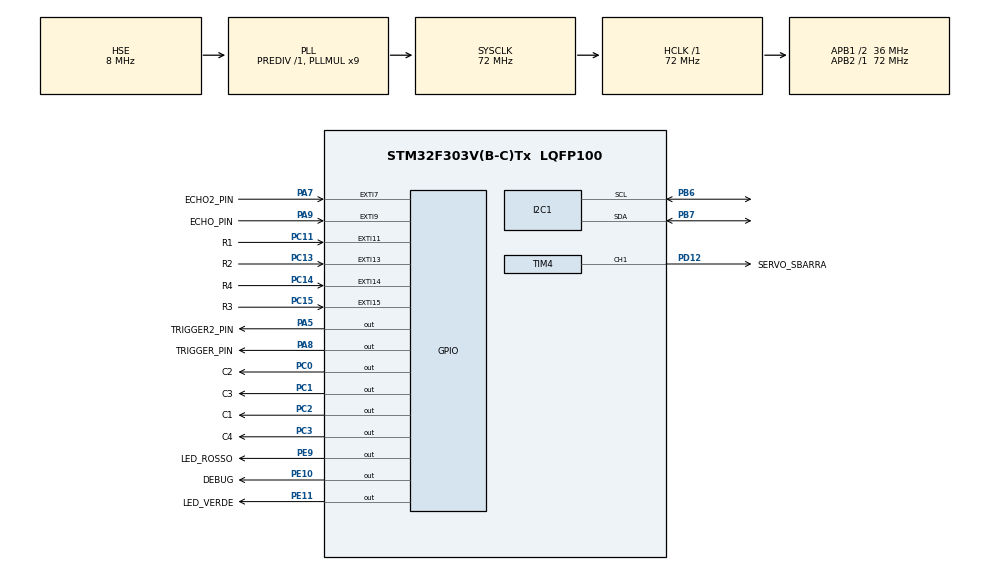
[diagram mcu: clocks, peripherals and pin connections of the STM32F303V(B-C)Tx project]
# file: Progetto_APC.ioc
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I2C1.Timing=0x00201D2B
Mcu.Family=STM32F3
Mcu.Name=STM32F303V(B-C)Tx
Mcu.Package=LQFP100
NVIC.EXTI15_10_IRQn=true\:0\:0\:false\:false\:true\:true\:true\:true
NVIC.EXTI9_5_IRQn=true\:0\:0\:false\:false\:true\:true\:true\:true
NVIC.PVD_IRQn=true\:0\:0\:false\:false\:true\:true\:true\:true
NVIC.PriorityGroup=NVIC_PRIORITYGROUP_4
NVIC.TIM2_IRQn=true\:0\:0\:false\:false\:true\:true\:true\:true
NVIC.TIM3_IRQn=true\:0\:0\:false\:false\:true\:true\:true\:true
PA5.GPIO_Label=TRIGGER2_PIN
PA5.Signal=GPIO_Output
PA7.GPIO_Label=ECHO2_PIN
PA7.GPIO_ModeDefaultEXTI=GPIO_MODE_IT_RISING_FALLING
PA7.Signal=GPXTI7
PA8.GPIO_Label=TRIGGER_PIN
PA8.Signal=GPIO_Output
PA9.GPIO_Label=ECHO_PIN
PA9.GPIO_ModeDefaultEXTI=GPIO_MODE_IT_RISING_FALLING
PA9.Signal=GPXTI9
PB6.Mode=I2C
PB6.Signal=I2C1_SCL
PB7.Mode=I2C
PB7.Signal=I2C1_SDA
PC0.GPIO_Label=C2
PC0.GPIO_ModeDefaultOutputPP=GPIO_MODE_OUTPUT_PP
PC0.PinState=GPIO_PIN_SET
PC0.Signal=GPIO_Output
PC1.GPIO_Label=C3
PC1.GPIO_ModeDefaultOutputPP=GPIO_MODE_OUTPUT_PP
PC1.PinState=GPIO_PIN_SET
PC1.Signal=GPIO_Output
PC11.GPIO_Label=R1
PC11.Signal=GPXTI11
PC13.GPIO_Label=R2
PC13.Signal=GPXTI13
PC14-OSC32_IN.GPIO_Label=R4
PC14-OSC32_IN.Signal=GPXTI14
PC15-OSC32_OUT.GPIO_Label=R3
PC15-OSC32_OUT.Signal=GPXTI15
PC2.GPIO_Label=C1
PC2.GPIO_ModeDefaultOutputPP=GPIO_MODE_OUTPUT_PP
PC2.PinState=GPIO_PIN_SET
PC2.Signal=GPIO_Output
PC3.GPIO_Label=C4
PC3.GPIO_ModeDefaultOutputPP=GPIO_MODE_OUTPUT_PP
PC3.PinState=GPIO_PIN_SET
PC3.Signal=GPIO_Output
PD12.GPIO_Label=SERVO_SBARRA
PD12.Signal=S_TIM4_CH1
PE10.GPIO_Label=DEBUG
PE10.Signal=GPIO_Output
PE11.GPIO_Label=LED_VERDE
PE11.Signal=GPIO_Output
PE9.GPIO_Label=LED_ROSSO
PE9.Signal=GPIO_Output
PF0-OSC_IN.Mode=HSE-External-Clock-Source
PF0-OSC_IN.Signal=RCC_OSC_IN
ProjectManager.HeapSize=0x200
ProjectManager.StackSize=0x400
ProjectManager.TargetToolchain=STM32CubeIDE
RCC.AHBFreq_Value=72000000
RCC.APB1CLKDivider=RCC_HCLK_DIV2
RCC.APB1Freq_Value=36000000
RCC.APB1TimFreq_Value=72000000
RCC.APB2Freq_Value=72000000
RCC.APB2TimFreq_Value=72000000
RCC.CortexFreq_Value=72000000
RCC.HCLKFreq_Value=72000000
RCC.HSE_VALUE=8000000
RCC.HSI_VALUE=8000000
RCC.LSE_VALUE=32768
RCC.PLLMUL=RCC_PLL_MUL9
RCC.PLLSourceVirtual=RCC_PLLSOURCE_HSE
RCC.SYSCLKFreq_VALUE=72000000
RCC.SYSCLKSourceVirtual=RCC_SYSCLKSOURCE_PLLCLK
RCC.USBFreq_Value=72000000
SH.S_TIM4_CH1.0=TIM4_CH1,PWM Generation1 CH1
TIM2.Period=9999
TIM2.Prescaler=71
TIM3.Period=10000-1
TIM3.Prescaler=7200-1
TIM4.Channel-PWM\ Generation1\ CH1=TIM_CHANNEL_1
TIM4.Period=19999
TIM4.Prescaler=71
VP_TIM2_VS_ClockSourceINT.Mode=Internal
VP_TIM3_VS_ClockSourceINT.Mode=Internal
VP_TIM4_VS_ClockSourceINT.Mode=Internal
board=custom

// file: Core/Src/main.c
/* USER CODE BEGIN Header */
/**
  ******************************************************************************
  * @file           : main.c
  * @brief          : Main program body
  ******************************************************************************
  * @attention
  *
  * Copyright (c) 2025 STMicroelectronics.
  * All rights reserved.
  *
  * This software is licensed under terms that can be found in the LICENSE file
  * in the root directory of this software component.
  * If no LICENSE file comes with this software, it is provided AS-IS.
  *
  ******************************************************************************
  */
/* USER CODE END Header */
#include "main.h"

/* USER CODE BEGIN Includes */
#include "ssd1306.h"
#include "ssd1306_fonts.h"
#include "number_display.h"
#include <stdio.h>
#include "qrcodegen.h"
#include <stdlib.h>
#include <string.h>

/* USER CODE END Includes */

/* USER CODE BEGIN PD */
#define TRIG_PORT GPIOA
#define ECHO_PORT GPIOA
#define ENTRANCE_TIME 10
#define SCALE 3

/* USER CODE END PD */

I2C_HandleTypeDef hi2c1;

TIM_HandleTypeDef htim2;
TIM_HandleTypeDef htim3;
TIM_HandleTypeDef htim4;

/* USER CODE BEGIN PV */
GPIO_InitTypeDef GPIO_InitStructPrivate = {0};
uint32_t previousMillis = 0;
uint32_t currentMillis = 0;
char keyPressed = ' '; //input del tastierino

//variabili del sensore di parcheggio
uint32_t echo_start_time =0;
uint32_t echo_stop_time= 0;
uint32_t distance = 0;
uint32_t distanzaVicinoCounter = 0; // conteggio in decimi di secondo
uint32_t away_counter = 0;

uint8_t qrcode[qrcodegen_BUFFER_LEN_MAX];
uint8_t tempBuffer[qrcodegen_BUFFER_LEN_MAX];
char qr_string[6]; // 5 cifre + terminatore '\0'
uint8_t up_flag = 1; //questo flag simula un finecorsa, indica che la sbarra è alta
uint8_t down_flag = 0; // questo invece indica quando la sbarre è abbassata = 1
uint8_t atEntrance = 0; //flag che indica se c'è qualcuno alla sbarra
char buffer[6];
int curr = 0;
GPIO_TypeDef* col_ports[4] = {C1_GPIO_Port, C2_GPIO_Port, C3_GPIO_Port, C4_GPIO_Port};
uint16_t col_pins[4] = {C1_Pin, C2_Pin, C3_Pin, C4_Pin};
char keypad[4][4] = {{'1','2','3','A'},{'4','5','6','B'},{'7','8','9','C'},{'*','0','#','D'}};
uint16_t seconds_elapsed = 0; //conta i secondi in cui sei all'ingresso
uint16_t elapsed_secs = 0;	//conta i secondi in cui sei nel parcheggio
uint16_t overflow = 0;
typedef struct {
	uint32_t timestamp;
	char ID[6];
}veicolo;
veicolo v;
bool pay = 0; //indica se bisogna pagare

//variabili del sensore di ingresso
uint32_t start_time_2 = 0;
uint32_t stop_time_2 = 0;
uint16_t distance2 = 0;

bool welcome = 1;
bool warningAtEnter = 0;
bool parkingChk = 0;
bool seatChk = 0;
bool lock = 0;
bool paid = 0;

/* USER CODE END PV */

void SystemClock_Config(void);
static void MX_GPIO_Init(void);
static void MX_I2C1_Init(void);
static void MX_TIM4_Init(void);
static void MX_TIM2_Init(void);
static void MX_TIM3_Init(void);
/* USER CODE BEGIN PFP */
void ultrasound_trigger_func(const int sensor);
void init_posto();
void sbarra_up();
void sbarra_down();
void draw_qr_on_display2(const char *text);
void TurnOnLed(GPIO_TypeDef* GPIOx, uint16_t GPIO_Pin);
void TurnOffLed(GPIO_TypeDef* GPIOx, uint16_t GPIO_Pin);
void SetServoAngle(uint8_t anglle);
void generate_random_string(void);
void scan_colonne();
/* USER CODE END PFP */

/* USER CODE BEGIN 0 */
//funzione per regolare l'angolo del servo

void SetServoAngle(uint8_t angle){
	uint16_t pulse = 900+(angle*2200)/180;
	__HAL_TIM_SET_COMPARE(&htim4,TIM_CHANNEL_1,pulse);
}

void sbarra_up(){
		SetServoAngle(90);
		down_flag = 0;
		up_flag = 1;
}

void sbarra_down(){
		SetServoAngle(0);
		up_flag = 0;
		down_flag = 1;
}

void init_posto(){
	TurnOnLed(GPIOE,GPIO_PIN_11);
	TurnOffLed(GPIOE,GPIO_PIN_9);
	sbarra_down();
}
void ultrasound_trigger_func(const int sensor){
	//Questa funzione invia l'impulso iniziale di 10us
	if(sensor == 1) HAL_GPIO_WritePin(GPIOA,TRIGGER2_PIN_Pin,GPIO_PIN_SET); 			//Alza trigger del sensore di ingresso
	else if (sensor == 2) HAL_GPIO_WritePin(TRIG_PORT, TRIGGER_PIN_Pin, GPIO_PIN_SET);  //Alza trigger del sensore di parcheggio
}

//ISR chiamata quando si verifica un qualsiasi evento sull'interfaccia GPIO

void HAL_GPIO_EXTI_Callback(uint16_t GPIO_Pin) {
	if (GPIO_Pin == ECHO_PIN_Pin) {
		if (HAL_GPIO_ReadPin(ECHO_PORT, ECHO_PIN_Pin) == GPIO_PIN_SET) {
			//Se ECHO è alto allora basta inziare a contare (o salvare il conteggio iniziale)
			echo_start_time = __HAL_TIM_GET_COUNTER (&htim2);
		} else { //Quando ECHO si abbassa si smette di contare, si calcola la distanza e la si invia
			echo_stop_time = __HAL_TIM_GET_COUNTER (&htim2);
			distance = (echo_stop_time-echo_start_time)* 0.034/2;//Formula data
			if (distance >= 45) distance = 40; //questo serve per correggere l'overflow
		}
		if (distance < 7) {						//sono parcheggiato
			      distanzaVicinoCounter++;			//conta un tic
			      if (distanzaVicinoCounter >= 30) { // con un impulso ogni 500 ms, 10 x 0.5s = 5s di periodo
			    	  away_counter = 0;
			    	  TurnOnLed(GPIOE, GPIO_PIN_9);   // LED rosso
			          TurnOffLed(GPIOE, GPIO_PIN_11);  // LED verde
			          seatChk = 1;					//flag del posto
			      }

		 } else {
			 	  away_counter++;
			 	  distanzaVicinoCounter = 0; // reset del timer
			 	  if(away_counter >=30){
			 		  TurnOnLed(GPIOE, GPIO_PIN_11);   // LED verde
			 		  TurnOffLed(GPIOE, GPIO_PIN_9);   // LED rosso
			 		  seatChk = 0;
			 	  }

			  }
		 }

	currentMillis = HAL_GetTick();
	if (currentMillis - previousMillis > 30) {
	    /*Configure GPIO pins : PB6 PB7 PB8 PB9 to GPIO_INPUT*/
	    GPIO_InitStructPrivate.Pin = R1_Pin|R2_Pin|R3_Pin|R4_Pin;
	    GPIO_InitStructPrivate.Mode = GPIO_MODE_INPUT;
	    GPIO_InitStructPrivate.Pull = GPIO_NOPULL;
	    GPIO_InitStructPrivate.Speed = GPIO_SPEED_FREQ_LOW;
	    HAL_GPIO_Init(GPIOC, &GPIO_InitStructPrivate);
	    for(int i=0;i<4;i++) {
				for(int j=0;j<4;j++) HAL_GPIO_WritePin(col_ports[j], col_pins[j],0);
				HAL_GPIO_WritePin(col_ports[i], col_pins[i],1);
				if(GPIO_Pin == R1_Pin && HAL_GPIO_ReadPin(R1_GPIO_Port, R1_Pin) && lock == 0)
						{
						  keyPressed = keypad[0][i];
						  lock = 1;
						}
						else if(GPIO_Pin == R2_Pin && HAL_GPIO_ReadPin(R2_GPIO_Port, R2_Pin) && lock == 0)
						{
						  keyPressed = keypad[1][i];
						  lock = 1;

						}
						else if(GPIO_Pin == R3_Pin && HAL_GPIO_ReadPin(R3_GPIO_Port, R3_Pin) && lock == 0)
						{
						  keyPressed = keypad[2][i];
						  lock = 1;

						}
						else if(GPIO_Pin == R4_Pin && HAL_GPIO_ReadPin(R4_GPIO_Port, R4_Pin) && lock == 0)
						{
						  keyPressed = keypad[3][i];
						  lock = 1;
						}
	    	}
	    	if (keyPressed == '#' && parkingChk == 1) {
				keyPressed = ' ';
				pay = 1;
				lock = 0;
			}
			else if (keyPressed == '*' && parkingChk == 1) {
				keyPressed = ' ';
				pay = 0;
				lock = 0;
			}

	    HAL_GPIO_WritePin(C1_GPIO_Port, C1_Pin, 1);
	    HAL_GPIO_WritePin(C2_GPIO_Port, C2_Pin, 1);
	    HAL_GPIO_WritePin(C3_GPIO_Port, C3_Pin, 1);
	    HAL_GPIO_WritePin(C4_GPIO_Port, C4_Pin, 1);
	    /*Configure GPIO pins : PB6 PB7 PB8 PB9 back to EXTI*/
	    GPIO_InitStructPrivate.Mode = GPIO_MODE_IT_RISING;
	    GPIO_InitStructPrivate.Pull = GPIO_PULLDOWN;
	    HAL_GPIO_Init(GPIOC, &GPIO_InitStructPrivate);
	    previousMillis = currentMillis;
	  }
//============= ISR SECONDO SENSORE ===================

	  if(GPIO_Pin == ECHO2_PIN_Pin){
		  if(HAL_GPIO_ReadPin(GPIOA,ECHO2_PIN_Pin)==GPIO_PIN_SET){
			start_time_2 = __HAL_TIM_GET_COUNTER (&htim2);
		  }else { //Quando ECHO si abbassa si smette di contare, si calcola la distanza e la si invia
			stop_time_2 = __HAL_TIM_GET_COUNTER (&htim2);
			distance2= (stop_time_2-start_time_2)* 0.034/2;//Formula data
			if (distance2 >= 45) distance2 = 40;
		  }
		  if(distance2<7){
			  atEntrance = 1;		//c'è una macchina all'ingresso
		  }else{
			  atEntrance = 0;		//non ci sono macchine all'ingresso
			  warningAtEnter = 0;	//non bisogna avvisare del warning
			}
	  }
	}

void HAL_TIM_PeriodElapsedCallback(TIM_HandleTypeDef *htim) {
        if (htim->Instance == TIM3) {
        	seconds_elapsed++;
        	if ((seconds_elapsed % ENTRANCE_TIME == 0)) {
        		// 10 secondi trascorsi!
				// Esegui azione
				HAL_TIM_Base_Stop_IT(&htim3);
				warningAtEnter = 1;
				atEntrance = 0;

          	    //ssd1306_DisplayString(" ",Font_11x18);
        	}
        }
        if(htim->Instance == TIM2){
        	overflow ++;
        	HAL_GPIO_WritePin(TRIG_PORT, TRIGGER_PIN_Pin, GPIO_PIN_RESET); //Abbassa trigger
            HAL_GPIO_WritePin(GPIOA,TRIGGER2_PIN_Pin,GPIO_PIN_RESET);
        	if(overflow >= 100){
        		elapsed_secs ++;
        		overflow = 0;
        	}
        }

}

// Funzione per accendere un LED specifico
void TurnOnLed(GPIO_TypeDef* GPIOx, uint16_t GPIO_Pin) {
    HAL_GPIO_WritePin(GPIOx, GPIO_Pin, GPIO_PIN_SET);
}

// Funzione per spegnere un LED specifico
void TurnOffLed(GPIO_TypeDef* GPIOx, uint16_t GPIO_Pin) {
    HAL_GPIO_WritePin(GPIOx, GPIO_Pin, GPIO_PIN_RESET);
}

//generazione codice univoco e conversione qrcode
void generate_random_string(void) {
    for (int i = 0; i < 5; i++) {
        qr_string[i] = '0' + (rand() % 10); // cifra casuale da '0' a '9'
    }
    qr_string[5] = '\0'; // terminatore stringa
}

void draw_qr_on_display2(const char *text) {

    bool ok = qrcodegen_encodeText(text, tempBuffer, qrcode, qrcodegen_Ecc_LOW,
                                       qrcodegen_VERSION_MIN, qrcodegen_VERSION_MAX,
                                       qrcodegen_Mask_AUTO, true);
        if (ok) {
            int qrsize = qrcodegen_getSize(qrcode);
            int offsetX = (128 - qrsize * SCALE) / 2;
            int offsetY = (64 - qrsize * SCALE) / 2;

            ssd1306_Fill(Black); // Pulisce lo schermo

            for (int y = 0; y < qrsize; y++) {
                for (int x = 0; x < qrsize; x++) {
                    bool pixel = qrcodegen_getModule(qrcode, x, y);
                    for (int dy = 0; dy < SCALE; dy++) {
                        for (int dx = 0; dx < SCALE; dx++) {
                            int drawX = x * SCALE + dx + offsetX;
                            int drawY = y * SCALE + dy + offsetY;

                            if (pixel)
                                ssd1306_DrawPixel(drawX, drawY, White);
                            else
                                ssd1306_DrawPixel(drawX, drawY, Black);
                        }
                    }
                }
            }

            ssd1306_UpdateScreen();  // Aggiorna il display
        }
    }

/* USER CODE END 0 */

int main(void)
{

  /* MCU Configuration--------------------------------------------------------*/

  /* Reset of all peripherals, Initializes the Flash interface and the Systick. */
  HAL_Init();

  /* Configure the system clock */
  SystemClock_Config();

  /* Initialize all configured peripherals */
  MX_GPIO_Init();
  MX_I2C1_Init();
  MX_TIM4_Init();
  MX_TIM2_Init();
  MX_TIM3_Init();
  /* USER CODE BEGIN 2 */
  __HAL_TIM_SET_COUNTER(&htim2, 0);
  //HAL_TIM_Base_Start(&htim2);
  HAL_TIM_Base_Start_IT(&htim2); // Avvia il timer
  HAL_GPIO_WritePin(TRIG_PORT, TRIGGER_PIN_Pin, GPIO_PIN_RESET);
  HAL_TIM_PWM_Start(&htim4,TIM_CHANNEL_1);
   // Genera stringa casuale
  init_posto();
  ssd1306_Init();
  //questa va spostata in un altra logica
  int elapsed = 0;
  /* USER CODE END 2 */

  /* Infinite loop */
  while (1)
  {

    /* USER CODE BEGIN 3 */
	//ssd1306_WriteString(buffer, Font_16x26, White);
	  if(welcome){
		  ssd1306_DisplayString("Benvenuto:)", Font_11x18);
		  ultrasound_trigger_func(1);
		  HAL_Delay(500);
	  }
	  /*
	  if(GPIO_PIN_SET == HAL_GPIO_ReadPin(GPIOA,GPIO_PIN_0)){
	  		  sbarra_up();
	  		  showQrCode = 1;
	  		   // genera la stringa random
	  			  //seconds_elapsed = 0;
	  		  if(atEntrance == 1){
	  			__HAL_TIM_SET_COUNTER(&htim3, 0);
	  		    HAL_TIM_Base_Start_IT(&htim3); // Avvia il timer
	  			gen = 0;
	  		  }
	  	  }*/
	  if(atEntrance == 1){	//C'è qualcuno all'ingresso
		  welcome = 0;
		  sbarra_up();
		  generate_random_string();
		  // genera la stringa random
		  seconds_elapsed = 0;
		  __HAL_TIM_SET_COUNTER(&htim3, 0);
		  HAL_TIM_Base_Start_IT(&htim3); // Avvia il timer
		  while(atEntrance == 1){
			  char EnterString[50];
			  sprintf(EnterString, "Hai %hu secondi per entrare!", ENTRANCE_TIME-seconds_elapsed);
			  ssd1306_DisplayString(EnterString, Font_6x8);
			  ultrasound_trigger_func(1);
			  HAL_Delay(500);
		  }
		  sbarra_down();
		  if(warningAtEnter == 0) {
			  parkingChk = 1;
			  generate_random_string();
			  v.timestamp = elapsed_secs; //associa il timestamp al veicolo
			  strcpy(v.ID,qr_string); //associa la stringa al veicolo
		  }
		  else {
			  while(warningAtEnter == 1) {
				  ssd1306_DisplayString("Vattene!", Font_11x18);
				  ultrasound_trigger_func(1);
				  HAL_Delay(500);
			  }
			  welcome = 1;
		  }
	  }

	  if(parkingChk == 1) {
		  lock = 0;
		  paid = 0;
		  ultrasound_trigger_func(2);
		  HAL_Delay(500);
		  if(seatChk == 1) {
			  ssd1306_DisplayString("Occupato :(", Font_11x18);
			  while (seatChk == 1) {
				  ultrasound_trigger_func(2);
				  HAL_Delay(500);
			  }
			  pay = 0;
		  }
		  else draw_qr_on_display2(qr_string);
		  if(pay == 1) {
			  elapsed = elapsed_secs- v.timestamp;
			  char PaymentString[30];
			  snprintf(PaymentString, sizeof(PaymentString), "Durata sosta: %d", elapsed);
			  ssd1306_DisplayString(PaymentString, Font_6x8);
			  HAL_Delay(3000);
			  strcpy(buffer, "     ");
			  while (pay == 1) {
				  char DisplayPIN[50];
				  sprintf(DisplayPIN,"Codice: %s", buffer);
				  ssd1306_DisplayString(DisplayPIN,Font_6x8);
				  if (keyPressed !=' ') {
				  				buffer[curr] = keyPressed;
				  				curr++;
				  				lock = 0;
				  				keyPressed = ' ';
				  				if(curr>=5) {
								  if (!strcmp(v.ID,buffer)){
									  paid = 1;
									  pay = 0;
									  curr = 0;
									  strcpy(buffer,"     ");
								  }else{
									  curr = 0;
									  strcpy(buffer,"     ");
								  }
								}
				  			}
			  }
			  if(paid == 1) {
				  ssd1306_DisplayString("Arrivederci UwU",Font_6x8);
				  sbarra_up();
				  HAL_Delay(5000);
				  sbarra_down();
				  parkingChk = 0;
				  welcome = 1;
			  }
		  }
	  }
/*

	  if (show_occupato){
    	  ssd1306_DisplayString("Occupato",Font_11x18);
	  }

	  if (atEntrance == 1 && showQrCode == 1){
			  v.timestamp = elapsed_secs; //associa il timestamp al veicolo
			  strcpy(v.ID,qr_string); //associa la stringa al veicolo
			  draw_qr_on_display2(qr_string); //mostra il qr
	  }

	  if(keyPressed == '#' && atEntrance == 0) {
		  if (automobile){
			  keyPressed = ' ';
			  strcpy(buffer,"     ");
			  pay = 1;
			  curr = 0;
			  elapsed = elapsed_secs- v.timestamp;
			  char str[30];
			  snprintf(str, sizeof(str), "Durata sosta: %d", elapsed);
			  ssd1306_DisplayString(str,Font_6x8);
		  }else{
			  ssd1306_DisplayString("non ci sono auto",Font_6x8);
	      }
	   }
	   if(pay){
		    	if (keyPressed != ' ') {
		    		next_char = 1;
		    		buffer[curr]=keyPressed;
		    		curr++;
		    		next_char = 1;
		    		keyPressed = ' ';
		    	}
		    			  ssd1306_DisplayString(buffer,Font_6x8);
		    			  if(curr>=5) {
		    				  if (!strcmp("11111",buffer)){
		    					  ssd1306_DisplayString("Arrivederci UwU",Font_6x8);
		    					  pay = 0;
		    					  curr = 0;
		    					  strcpy(buffer,"     ");
		    					  automobile = 0;
		    					  gen = 1;
		    					  show_occupato = 0;
		    					  //sbarra = 0;
		    					  //HAL_Delay(100);
		    				  }else{
		    					  ssd1306_DisplayString("inserisci pin",Font_6x8);
		    					  curr = 0;
		    					  strcpy(buffer,"     ");
		    					  //HAL_Delay(100);
		    				  }
		    			  }

		    		  }*/
			  /*while(curr <= 6){
				  buffer[curr] = keyPressed;

				  ssd1306_DisplayString(buffer[curr]);
				  curr ++;
			  }*/

	  //HAL_Delay(100); // ogni 100 ms
  }
  /* USER CODE END 3 */
}

void SystemClock_Config(void)
{
  RCC_OscInitTypeDef RCC_OscInitStruct = {0};
  RCC_ClkInitTypeDef RCC_ClkInitStruct = {0};
  RCC_PeriphCLKInitTypeDef PeriphClkInit = {0};

  /** Initializes the RCC Oscillators according to the specified parameters
  * in the RCC_OscInitTypeDef structure.
  */
  RCC_OscInitStruct.OscillatorType = RCC_OSCILLATORTYPE_HSI|RCC_OSCILLATORTYPE_HSE;
  RCC_OscInitStruct.HSEState = RCC_HSE_BYPASS;
  RCC_OscInitStruct.HSEPredivValue = RCC_HSE_PREDIV_DIV1;
  RCC_OscInitStruct.HSIState = RCC_HSI_ON;
  RCC_OscInitStruct.HSICalibrationValue = RCC_HSICALIBRATION_DEFAULT;
  RCC_OscInitStruct.PLL.PLLState = RCC_PLL_ON;
  RCC_OscInitStruct.PLL.PLLSource = RCC_PLLSOURCE_HSE;
  RCC_OscInitStruct.PLL.PLLMUL = RCC_PLL_MUL9;
  if (HAL_RCC_OscConfig(&RCC_OscInitStruct) != HAL_OK)
  {
    Error_Handler();
  }

  /** Initializes the CPU, AHB and APB buses clocks
  */
  RCC_ClkInitStruct.ClockType = RCC_CLOCKTYPE_HCLK|RCC_CLOCKTYPE_SYSCLK
                              |RCC_CLOCKTYPE_PCLK1|RCC_CLOCKTYPE_PCLK2;
  RCC_ClkInitStruct.SYSCLKSource = RCC_SYSCLKSOURCE_PLLCLK;
  RCC_ClkInitStruct.AHBCLKDivider = RCC_SYSCLK_DIV1;
  RCC_ClkInitStruct.APB1CLKDivider = RCC_HCLK_DIV2;
  RCC_ClkInitStruct.APB2CLKDivider = RCC_HCLK_DIV1;

  if (HAL_RCC_ClockConfig(&RCC_ClkInitStruct, FLASH_LATENCY_2) != HAL_OK)
  {
    Error_Handler();
  }
  PeriphClkInit.PeriphClockSelection = RCC_PERIPHCLK_I2C1;
  PeriphClkInit.I2c1ClockSelection = RCC_I2C1CLKSOURCE_HSI;
  if (HAL_RCCEx_PeriphCLKConfig(&PeriphClkInit) != HAL_OK)
  {
    Error_Handler();
  }
}

static void MX_I2C1_Init(void)
{

  hi2c1.Instance = I2C1;
  hi2c1.Init.Timing = 0x00201D2B;
  hi2c1.Init.OwnAddress1 = 0;
  hi2c1.Init.AddressingMode = I2C_ADDRESSINGMODE_7BIT;
  hi2c1.Init.DualAddressMode = I2C_DUALADDRESS_DISABLE;
  hi2c1.Init.OwnAddress2 = 0;
  hi2c1.Init.OwnAddress2Masks = I2C_OA2_NOMASK;
  hi2c1.Init.GeneralCallMode = I2C_GENERALCALL_DISABLE;
  hi2c1.Init.NoStretchMode = I2C_NOSTRETCH_DISABLE;
  if (HAL_I2C_Init(&hi2c1) != HAL_OK)
  {
    Error_Handler();
  }

  /** Configure Analogue filter
  */
  if (HAL_I2CEx_ConfigAnalogFilter(&hi2c1, I2C_ANALOGFILTER_ENABLE) != HAL_OK)
  {
    Error_Handler();
  }

  /** Configure Digital filter
  */
  if (HAL_I2CEx_ConfigDigitalFilter(&hi2c1, 0) != HAL_OK)
  {
    Error_Handler();
  }

}

static void MX_TIM2_Init(void)
{

  TIM_ClockConfigTypeDef sClockSourceConfig = {0};
  TIM_MasterConfigTypeDef sMasterConfig = {0};

  htim2.Instance = TIM2;
  htim2.Init.Prescaler = 71;
  htim2.Init.CounterMode = TIM_COUNTERMODE_UP;
  htim2.Init.Period = 9999;
  htim2.Init.ClockDivision = TIM_CLOCKDIVISION_DIV1;
  htim2.Init.AutoReloadPreload = TIM_AUTORELOAD_PRELOAD_DISABLE;
  if (HAL_TIM_Base_Init(&htim2) != HAL_OK)
  {
    Error_Handler();
  }
  sClockSourceConfig.ClockSource = TIM_CLOCKSOURCE_INTERNAL;
  if (HAL_TIM_ConfigClockSource(&htim2, &sClockSourceConfig) != HAL_OK)
  {
    Error_Handler();
  }
  sMasterConfig.MasterOutputTrigger = TIM_TRGO_RESET;
  sMasterConfig.MasterSlaveMode = TIM_MASTERSLAVEMODE_DISABLE;
  if (HAL_TIMEx_MasterConfigSynchronization(&htim2, &sMasterConfig) != HAL_OK)
  {
    Error_Handler();
  }

}

static void MX_TIM3_Init(void)
{

  TIM_ClockConfigTypeDef sClockSourceConfig = {0};
  TIM_MasterConfigTypeDef sMasterConfig = {0};

  htim3.Instance = TIM3;
  htim3.Init.Prescaler = 7200-1;
  htim3.Init.CounterMode = TIM_COUNTERMODE_UP;
  htim3.Init.Period = 10000-1;
  htim3.Init.ClockDivision = TIM_CLOCKDIVISION_DIV1;
  htim3.Init.AutoReloadPreload = TIM_AUTORELOAD_PRELOAD_DISABLE;
  if (HAL_TIM_Base_Init(&htim3) != HAL_OK)
  {
    Error_Handler();
  }
  sClockSourceConfig.ClockSource = TIM_CLOCKSOURCE_INTERNAL;
  if (HAL_TIM_ConfigClockSource(&htim3, &sClockSourceConfig) != HAL_OK)
  {
    Error_Handler();
  }
  sMasterConfig.MasterOutputTrigger = TIM_TRGO_RESET;
  sMasterConfig.MasterSlaveMode = TIM_MASTERSLAVEMODE_DISABLE;
  if (HAL_TIMEx_MasterConfigSynchronization(&htim3, &sMasterConfig) != HAL_OK)
  {
    Error_Handler();
  }

}

static void MX_TIM4_Init(void)
{

  TIM_ClockConfigTypeDef sClockSourceConfig = {0};
  TIM_MasterConfigTypeDef sMasterConfig = {0};
  TIM_OC_InitTypeDef sConfigOC = {0};

  htim4.Instance = TIM4;
  htim4.Init.Prescaler = 71;
  htim4.Init.CounterMode = TIM_COUNTERMODE_UP;
  htim4.Init.Period = 19999;
  htim4.Init.ClockDivision = TIM_CLOCKDIVISION_DIV1;
  htim4.Init.AutoReloadPreload = TIM_AUTORELOAD_PRELOAD_DISABLE;
  if (HAL_TIM_Base_Init(&htim4) != HAL_OK)
  {
    Error_Handler();
  }
  sClockSourceConfig.ClockSource = TIM_CLOCKSOURCE_INTERNAL;
  if (HAL_TIM_ConfigClockSource(&htim4, &sClockSourceConfig) != HAL_OK)
  {
    Error_Handler();
  }
  if (HAL_TIM_PWM_Init(&htim4) != HAL_OK)
  {
    Error_Handler();
  }
  sMasterConfig.MasterOutputTrigger = TIM_TRGO_RESET;
  sMasterConfig.MasterSlaveMode = TIM_MASTERSLAVEMODE_DISABLE;
  if (HAL_TIMEx_MasterConfigSynchronization(&htim4, &sMasterConfig) != HAL_OK)
  {
    Error_Handler();
  }
  sConfigOC.OCMode = TIM_OCMODE_PWM1;
  sConfigOC.Pulse = 0;
  sConfigOC.OCPolarity = TIM_OCPOLARITY_HIGH;
  sConfigOC.OCFastMode = TIM_OCFAST_DISABLE;
  if (HAL_TIM_PWM_ConfigChannel(&htim4, &sConfigOC, TIM_CHANNEL_1) != HAL_OK)
  {
    Error_Handler();
  }
  HAL_TIM_MspPostInit(&htim4);

}

static void MX_GPIO_Init(void)
{
  GPIO_InitTypeDef GPIO_InitStruct = {0};

  /* GPIO Ports Clock Enable */
  __HAL_RCC_GPIOC_CLK_ENABLE();
  __HAL_RCC_GPIOF_CLK_ENABLE();
  __HAL_RCC_GPIOA_CLK_ENABLE();
  __HAL_RCC_GPIOE_CLK_ENABLE();
  __HAL_RCC_GPIOD_CLK_ENABLE();
  __HAL_RCC_GPIOB_CLK_ENABLE();

  /*Configure GPIO pin Output Level */
  HAL_GPIO_WritePin(GPIOC, C2_Pin|C3_Pin|C1_Pin|C4_Pin, GPIO_PIN_SET);

  /*Configure GPIO pin Output Level */
  HAL_GPIO_WritePin(GPIOA, TRIGGER2_PIN_Pin|TRIGGER_PIN_Pin, GPIO_PIN_RESET);

  /*Configure GPIO pin Output Level */
  HAL_GPIO_WritePin(GPIOE, LED_ROSSO_Pin|DEBUG_Pin|LED_VERDE_Pin, GPIO_PIN_RESET);

  /*Configure GPIO pins : R2_Pin R4_Pin R3_Pin R1_Pin */
  GPIO_InitStruct.Pin = R2_Pin|R4_Pin|R3_Pin|R1_Pin;
  GPIO_InitStruct.Mode = GPIO_MODE_IT_RISING;
  GPIO_InitStruct.Pull = GPIO_NOPULL;
  HAL_GPIO_Init(GPIOC, &GPIO_InitStruct);

  /*Configure GPIO pins : C2_Pin C3_Pin C1_Pin C4_Pin */
  GPIO_InitStruct.Pin = C2_Pin|C3_Pin|C1_Pin|C4_Pin;
  GPIO_InitStruct.Mode = GPIO_MODE_OUTPUT_PP;
  GPIO_InitStruct.Pull = GPIO_NOPULL;
  GPIO_InitStruct.Speed = GPIO_SPEED_FREQ_LOW;
  HAL_GPIO_Init(GPIOC, &GPIO_InitStruct);

  /*Configure GPIO pins : TRIGGER2_PIN_Pin TRIGGER_PIN_Pin */
  GPIO_InitStruct.Pin = TRIGGER2_PIN_Pin|TRIGGER_PIN_Pin;
  GPIO_InitStruct.Mode = GPIO_MODE_OUTPUT_PP;
  GPIO_InitStruct.Pull = GPIO_NOPULL;
  GPIO_InitStruct.Speed = GPIO_SPEED_FREQ_LOW;
  HAL_GPIO_Init(GPIOA, &GPIO_InitStruct);

  /*Configure GPIO pins : ECHO2_PIN_Pin ECHO_PIN_Pin */
  GPIO_InitStruct.Pin = ECHO2_PIN_Pin|ECHO_PIN_Pin;
  GPIO_InitStruct.Mode = GPIO_MODE_IT_RISING_FALLING;
  GPIO_InitStruct.Pull = GPIO_NOPULL;
  HAL_GPIO_Init(GPIOA, &GPIO_InitStruct);

  /*Configure GPIO pins : LED_ROSSO_Pin DEBUG_Pin LED_VERDE_Pin */
  GPIO_InitStruct.Pin = LED_ROSSO_Pin|DEBUG_Pin|LED_VERDE_Pin;
  GPIO_InitStruct.Mode = GPIO_MODE_OUTPUT_PP;
  GPIO_InitStruct.Pull = GPIO_NOPULL;
  GPIO_InitStruct.Speed = GPIO_SPEED_FREQ_LOW;
  HAL_GPIO_Init(GPIOE, &GPIO_InitStruct);

  /* EXTI interrupt init*/
  HAL_NVIC_SetPriority(EXTI9_5_IRQn, 0, 0);
  HAL_NVIC_EnableIRQ(EXTI9_5_IRQn);

  HAL_NVIC_SetPriority(EXTI15_10_IRQn, 0, 0);
  HAL_NVIC_EnableIRQ(EXTI15_10_IRQn);

}

void Error_Handler(void)
{
  __disable_irq();
  while (1)
  {
  }
}
